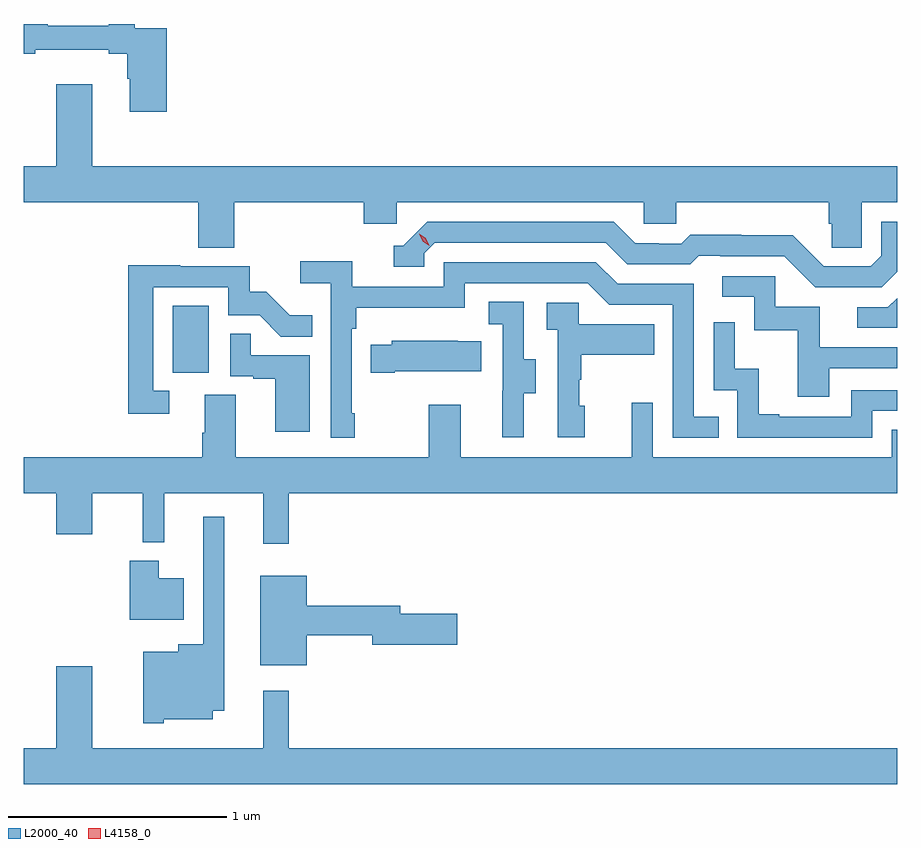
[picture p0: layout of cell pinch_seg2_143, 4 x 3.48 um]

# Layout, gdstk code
import gdstk
lib = gdstk.Library(unit=1e-6, precision=1e-09)
def R(c, l, rs):  # rectangles x0, y0, x1, y1
    for r in rs: c.add(gdstk.rectangle(r[:2], r[2:], *l))
def P(c, l, *ps):  # polygons
    for p in ps: c.add(gdstk.Polygon(p, *l))
L2000_40 = (2000, 40)
L4158_0 = (4158, 0)

pinch_seg2_143 = lib.new_cell('pinch_seg2_143')
R(pinch_seg2_143, L2000_40, [(1124.582,636.198,1124.746,636.505)])
P(pinch_seg2_143, L2000_40, [(1124.555,637.776),(1124.408,637.776),(1124.408,637.796),(1124.288,637.796),(1124.288,637.789),(1124.008,637.789),(1124.008,637.796),(1123.899,637.796),(1123.899,637.66),(1123.952,637.66),(1123.952,637.679),(1124.288,637.679),(1124.288,637.66),(1124.372,637.66),(1124.372,637.545),(1124.384,637.545),(1124.384,637.395),(1124.555,637.395)],
  [(1124.864,636.98),(1125.455,636.98),(1125.455,636.882),(1125.606,636.882),(1125.606,636.98),(1126.737,636.98),(1126.737,636.882),(1126.887,636.882),(1126.887,636.98),(1127.585,636.98),(1127.585,636.882),(1127.599,636.882),(1127.599,636.772),(1127.736,636.772),(1127.736,636.98),(1127.899,636.98),(1127.899,637.144),(1124.212,637.144),(1124.212,637.519),(1124.048,637.519),(1124.048,637.144),(1123.899,637.144),(1123.899,636.98),(1124.699,636.98),(1124.699,636.772),(1124.864,636.772)],
  [(1127.899,636.661),(1127.899,636.891),(1127.826,636.891),(1127.826,636.735),(1127.778,636.687),(1127.562,636.687),(1127.42,636.829),(1127.184,636.829),(1127.184,636.832),(1126.951,636.832),(1126.909,636.789),(1126.806,636.789),(1126.806,636.792),(1126.699,636.792),(1126.6,636.891),(1125.747,636.891),(1125.636,636.78),(1125.593,636.78),(1125.593,636.684),(1125.732,636.684),(1125.732,636.747),(1125.78,636.795),(1126.563,636.795),(1126.662,636.696),(1126.951,636.696),(1126.99,636.735),(1127.089,636.735),(1127.089,636.732),(1127.382,636.732),(1127.523,636.591),(1127.829,636.591)],
  [(1125.415,636.013),(1125.402,636.013),(1125.402,636.401),(1125.422,636.401),(1125.422,636.497),(1125.918,636.497),(1125.918,636.609),(1126.482,636.609),(1126.581,636.51),(1126.872,636.51),(1126.872,635.901),(1127.081,635.901),(1127.081,635.997),(1126.968,635.997),(1126.968,636.606),(1126.618,636.606),(1126.519,636.705),(1125.822,636.705),(1125.822,636.594),(1125.404,636.594),(1125.404,636.71),(1125.165,636.71),(1125.165,636.608),(1125.306,636.608),(1125.306,635.901),(1125.415,635.901)],
  [(1124.566,636.117),(1124.493,636.117),(1124.493,636.591),(1124.835,636.591),(1124.835,636.462),(1124.979,636.462),(1125.077,636.364),(1125.221,636.364),(1125.221,636.463),(1125.117,636.463),(1125.01,636.57),(1124.934,636.57),(1124.934,636.687),(1124.615,636.687),(1124.615,636.692),(1124.377,636.692),(1124.377,636.012),(1124.566,636.012)],
  [(1127.587,636.219),(1127.899,636.219),(1127.899,636.315),(1127.545,636.315),(1127.545,636.501),(1127.34,636.501),(1127.34,636.642),(1127.097,636.642),(1127.097,636.546),(1127.244,636.546),(1127.244,636.393),(1127.443,636.393),(1127.443,636.09),(1127.587,636.09)],
  [(1127.899,636.541),(1127.856,636.498),(1127.715,636.498),(1127.715,636.405),(1127.899,636.405)],
  [(1126.189,636.106),(1126.243,636.106),(1126.243,636.261),(1126.188,636.261),(1126.188,636.524),(1126.029,636.524),(1126.029,636.421),(1126.092,636.421),(1126.092,636.117),(1126.091,636.117),(1126.091,635.904),(1126.189,635.904)],
  [(1126.468,636.048),(1126.443,636.048),(1126.443,636.167),(1126.453,636.167),(1126.453,636.281),(1126.787,636.281),(1126.787,636.421),(1126.44,636.421),(1126.44,636.519),(1126.293,636.519),(1126.293,636.395),(1126.344,636.395),(1126.344,635.904),(1126.468,635.904)],
  [(1127.784,636.024),(1127.899,636.024),(1127.899,636.12),(1127.688,636.12),(1127.688,635.997),(1127.359,635.997),(1127.359,636.01),(1127.264,636.01),(1127.264,636.218),(1127.154,636.218),(1127.154,636.43),(1127.058,636.43),(1127.058,636.12),(1127.166,636.12),(1127.166,635.901),(1127.784,635.901)],
  [(1125.208,636.279),(1124.939,636.279),(1124.939,636.377),(1124.844,636.377),(1124.844,636.183),(1124.951,636.183),(1124.951,636.171),(1125.05,636.171),(1125.05,635.928),(1125.208,635.928)],
  [(1125.598,636.206),(1125.995,636.206),(1125.995,636.343),(1125.887,636.343),(1125.887,636.346),(1125.585,636.346),(1125.585,636.328),(1125.487,636.328),(1125.487,636.199),(1125.598,636.199)],
  [(1125.113,635.648),(1127.899,635.648),(1127.899,635.939),(1127.874,635.939),(1127.874,635.812),(1126.779,635.812),(1126.779,636.061),(1126.682,636.061),(1126.682,635.812),(1125.901,635.812),(1125.901,636.052),(1125.754,636.052),(1125.754,635.812),(1124.869,635.812),(1124.869,636.098),(1124.729,636.098),(1124.729,635.924),(1124.717,635.924),(1124.717,635.812),(1123.899,635.812),(1123.899,635.648),(1124.048,635.648),(1124.048,635.46),(1124.212,635.46),(1124.212,635.648),(1124.443,635.648),(1124.443,635.423),(1124.543,635.423),(1124.543,635.648),(1124.996,635.648),(1124.996,635.415),(1125.113,635.415)],
  [(1124.541,634.613),(1124.764,634.613),(1124.764,634.652),(1124.818,634.652),(1124.818,635.539),(1124.721,635.539),(1124.721,634.957),(1124.606,634.957),(1124.606,634.921),(1124.447,634.921),(1124.447,634.595),(1124.541,634.595)],
  [(1124.632,635.257),(1124.518,635.257),(1124.518,635.338),(1124.384,635.338),(1124.384,635.069),(1124.632,635.069)],
  [(1125.196,634.996),(1125.494,634.996),(1125.494,634.954),(1125.883,634.954),(1125.883,635.096),(1125.622,635.096),(1125.622,635.132),(1125.196,635.132),(1125.196,635.269),(1124.981,635.269),(1124.981,634.859),(1125.196,634.859)],
  [(1127.899,634.48),(1125.113,634.48),(1125.113,634.744),(1124.995,634.744),(1124.995,634.48),(1124.212,634.48),(1124.212,634.855),(1124.048,634.855),(1124.048,634.48),(1123.899,634.48),(1123.899,634.316),(1127.899,634.316)])
P(pinch_seg2_143, L4158_0, [(1125.756,636.781),(1125.726,636.802),(1125.711,636.834),(1125.711,636.835),(1125.711,636.835),(1125.741,636.814),(1125.756,636.782),(1125.756,636.781)])

lib.write_gds('pinch_seg2_143.gds')
